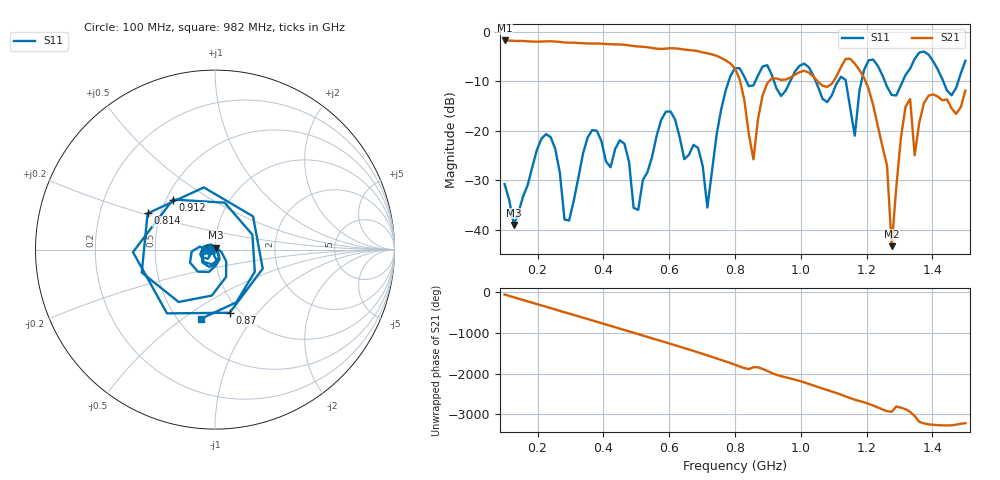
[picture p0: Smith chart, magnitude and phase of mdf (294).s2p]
! NanoVNA-App
! Date: 2025-09-25 15:40:42
! Start: 100MHz Stop: 1,5GHz Points: 101
! S-Parameter data: F S11 S21 S12 S22
# Hz S RI R 50
!  Frequency  S11_Real  S11_Imag  S21_Real  S21_Imag  S12_Real  S12_Imag  S22_Real  S22_Imag
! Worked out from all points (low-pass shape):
!   101 points, 100 MHz to 1.5 GHz, reference 50 ohm
!   highest |S21| = -1.80 dB at 100 MHz (marker M1); lowest = -43.3 dB at 1.276 GHz (marker M2)
!   |S21| within 3 dB of the highest: start of sweep to 739.4 MHz
!   lowest |S11| = -39.0 dB at 128 MHz (marker M3), VSWR 1.02, Z = 50.3 + j1.08 ohm
!   |S11| at or under -10 dB: start of sweep to 781 MHz; 1.045 GHz to 1.114 GHz (68.3 MHz wide, 6.33 % of centre); 1.255 GHz to 1.31 GHz (54.57 MHz wide, 4.26 % of centre) (the widest 3 of 7)
!   S12 and S22 are empty: the file has one direction only
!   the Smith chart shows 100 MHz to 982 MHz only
!   S11 on the Smith chart (normalised r, x): 100 MHz: 0.94, -0.01; 814 MHz: 0.42, +0.21; 870 MHz: 0.90, -0.73; 912 MHz: 0.54, +0.35; 982 MHz: 0.64, -0.59
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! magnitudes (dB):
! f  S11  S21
! 100 MHz  -30.8  -1.8
! 128 MHz  -39.0  -1.9
! 212 MHz  -21.6  -2.0
! 282 MHz  -37.9  -2.2
! 338 MHz  -24.7  -2.4
! 464 MHz  -22.6  -2.7
! 506 MHz  -35.9  -3.0
! 576 MHz  -17.8  -3.5
! 716 MHz  -35.5  -4.4
! 800 MHz  -7.4  -7.4
! 814 MHz  -7.4  -9.6
! 870 MHz  -8.8  -17.6
! 912 MHz  -8.8  -9.4
! 982 MHz  -8.1  -8.7
! 1.038 GHz  -8.8  -9.1
! 1.164 GHz  -21.0  -6.5
! 1.192 GHz  -7.8  -9.3
! 1.262 GHz  -11.1  -27.1
! 1.276 GHz  -12.8  -43.3
! 1.318 GHz  -8.8  -15.2
! 1.346 GHz  -5.5  -24.9
! 1.5 GHz  -5.9  -11.9
